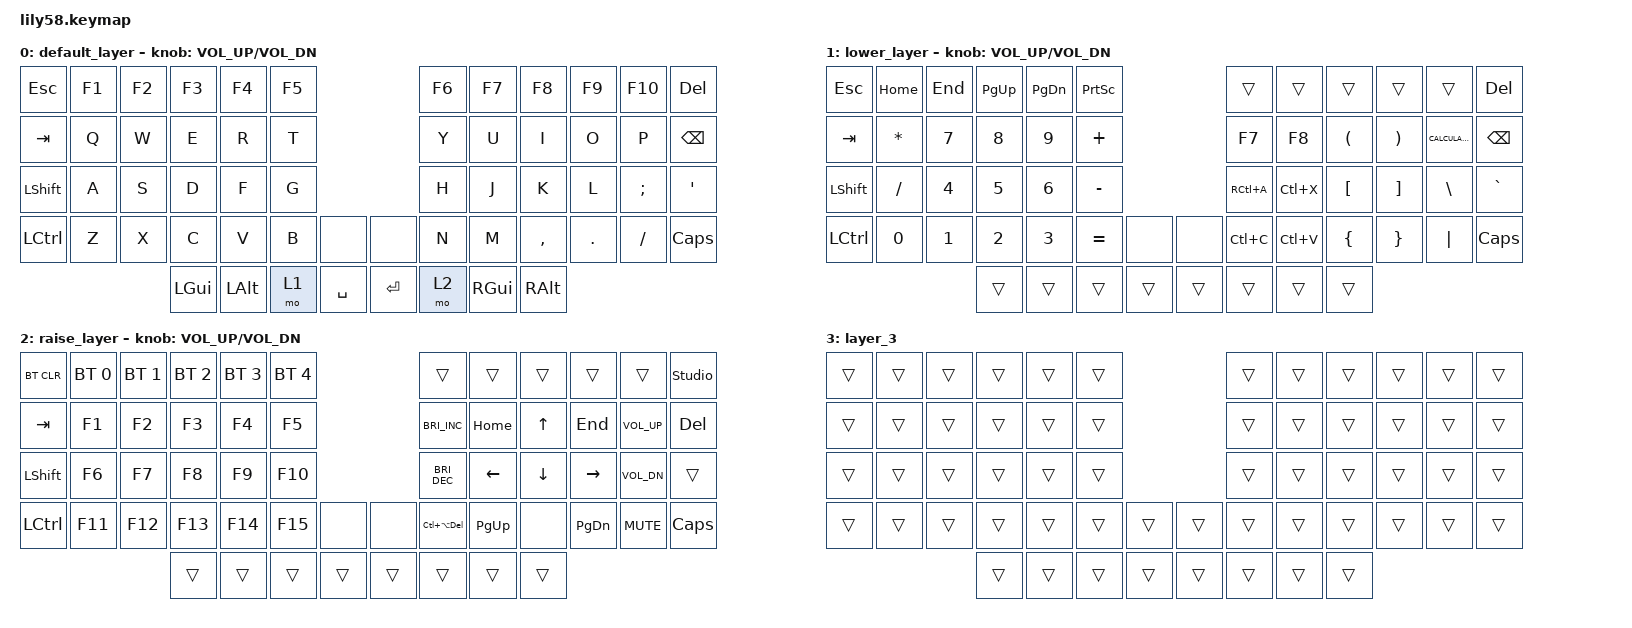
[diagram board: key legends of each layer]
/*
 * Copyright (c) 2020 The ZMK Contributors
 *
 * SPDX-License-Identifier: MIT
 */

#include <behaviors.dtsi>
#include <dt-bindings/zmk/bt.h>
#include <dt-bindings/zmk/keys.h>

/ {
    keymap {
        compatible = "zmk,keymap";

        default_layer {
            // ------------------------------------------------------------------------------------------------------------
            // |  ESC  |  1  |  2  |  3   |  4   |  5   |                   |  6   |  7    |  8    |  9   |   0   |   `   |
            // |  TAB  |  Q  |  W  |  E   |  R   |  T   |                   |  Y   |  U    |  I    |  O   |   P   |   -   |
            // |  CTRL |  A  |  S  |  D   |  F   |  G   |                   |  H   |  J    |  K    |  L   |   ;   |   '   |
            // | SHIFT |  Z  |  X  |  C   |  V   |  B   |   "["  |  |  "]"  |  N   |  M    |  ,    |  .   |   /   | SHIFT |
            //                     | ALT  | GUI  | LOWER|  SPACE |  | ENTER | RAISE| BSPC  | GUI   |

            bindings = <
&kp ESC         &kp F1  &kp F2  &kp F3        &kp F4        &kp F5                        &kp F6  &kp F7         &kp F8         &kp F9   &kp F10   &kp DEL
&kp TAB         &kp Q   &kp W   &kp E         &kp R         &kp T                         &kp Y   &kp U          &kp I          &kp O    &kp P     &kp BACKSPACE
&kp LEFT_SHIFT  &kp A   &kp S   &kp D         &kp F         &kp G                         &kp H   &kp J          &kp K          &kp L    &kp SEMI  &kp SQT
&kp LCTRL       &kp Z   &kp X   &kp C         &kp V         &kp B   &none        &none    &kp N   &kp M          &kp COMMA      &kp DOT  &kp FSLH  &kp CAPS
                                &kp LEFT_GUI  &kp LEFT_ALT  &mo 1   &kp SPACE    &kp RET  &mo 2   &kp RIGHT_GUI  &kp RIGHT_ALT
            >;

            sensor-bindings = <&inc_dec_kp C_VOL_UP C_VOL_DN>;
        };

        lower_layer {
            // ------------------------------------------------------------------------------------------------------------
            // | BTCLR | BT1 | BT2 |  BT3 |  BT4 |  BT5 |                   |      |       |       |      |       |       |
            // |  F1   |  F2 |  F3 |  F4  |  F5  |  F6  |                   |  F7  |  F8   |  F9   |  F10 |  F11  |  F12  |
            // |   `   |  !  |  @  |  #   |  $   |  %   |                   |  ^   |  &    |  *    |  (   |   )   |   ~   |
            // |       |     |     |      |      |      |        |  |       |      |  _    |  +    |  {   |   }   |  "|"  |
            //                     |      |      |      |        |  |       |      |       |       |

            bindings = <
&kp ESC         &kp HOME      &kp END       &kp PG_UP     &kp PG_DN     &kp PRINTSCREEN                    &trans     &trans     &trans                &trans                 &trans            &kp DEL
&kp TAB         &kp ASTERISK  &kp N7        &kp N8        &kp N9        &kp PLUS                           &kp F7     &kp F8     &kp LEFT_PARENTHESIS  &kp RIGHT_PARENTHESIS  &kp K_CALCULATOR  &kp BACKSPACE
&kp LEFT_SHIFT  &kp SLASH     &kp NUMBER_4  &kp N5        &kp NUMBER_6  &kp MINUS                          &kp RC(A)  &kp LC(X)  &kp LEFT_BRACKET      &kp RIGHT_BRACKET      &kp BACKSLASH     &kp GRAVE
&kp LCTRL       &kp N0        &kp NUMBER_1  &kp NUMBER_2  &kp NUMBER_3  &kp EQUAL        &none     &none   &kp LC(C)  &kp LC(V)  &kp LEFT_BRACE        &kp RIGHT_BRACE        &kp PIPE          &kp CAPS
                                            &trans        &trans        &trans           &trans    &trans  &trans     &trans     &trans
            >;

            sensor-bindings = <&inc_dec_kp C_VOL_UP C_VOL_DN>;
        };

        raise_layer {
            // ------------------------------------------------------------------------------------------------------------
            // |       |     |     |      |      |      |                   |      |       |       |      |       |       |
            // |   `   |  1  |  2  |  3   |  4   |  5   |                   |  6   |   7   |   8   |  9   |   0   |       |
            // |   F1  |  F2 |  F3 |  F4  |  F5  |  F6  |                   |      |   <-  |   v   |  ^   |  ->   |       |
            // |   F7  |  F8 |  F9 |  F10 |  F11 |  F12 |        |  |       |  +   |   -   |   =   |  [   |   ]   |   \   |
            //                     |      |      |      |        |  |       |      |       |       |

            bindings = <
&bt BT_CLR      &bt BT_SEL 0  &bt BT_SEL 1  &bt BT_SEL 2  &bt BT_SEL 3  &bt BT_SEL 4                    &trans                &trans     &trans        &trans           &trans           &studio_unlock
&kp TAB         &kp F1        &kp F2        &kp F3        &kp F4        &kp F5                          &kp C_BRIGHTNESS_INC  &kp HOME   &kp UP_ARROW  &kp END          &kp C_VOLUME_UP  &kp DEL
&kp LEFT_SHIFT  &kp F6        &kp F7        &kp F8        &kp F9        &kp F10                         &kp C_BRI_DEC         &kp LEFT   &kp DOWN      &kp RIGHT_ARROW  &kp C_VOL_DN     &trans
&kp LCTRL       &kp F11       &kp F12       &kp F13       &kp F14       &kp F15       &none     &none   &kp LC(LA(DELETE))    &kp PG_UP  &none         &kp PAGE_DOWN    &kp K_MUTE       &kp CAPS
                                            &trans        &trans        &trans        &trans    &trans  &trans                &trans     &trans
            >;

            sensor-bindings = <&inc_dec_kp C_VOL_UP C_VOL_DN>;
        };

        layer_3 {
            bindings = <
&trans  &trans  &trans  &trans  &trans  &trans                    &trans  &trans  &trans  &trans  &trans  &trans
&trans  &trans  &trans  &trans  &trans  &trans                    &trans  &trans  &trans  &trans  &trans  &trans
&trans  &trans  &trans  &trans  &trans  &trans                    &trans  &trans  &trans  &trans  &trans  &trans
&trans  &trans  &trans  &trans  &trans  &trans  &trans    &trans  &trans  &trans  &trans  &trans  &trans  &trans
                        &trans  &trans  &trans  &trans    &trans  &trans  &trans  &trans
            >;
        };
    };
};
